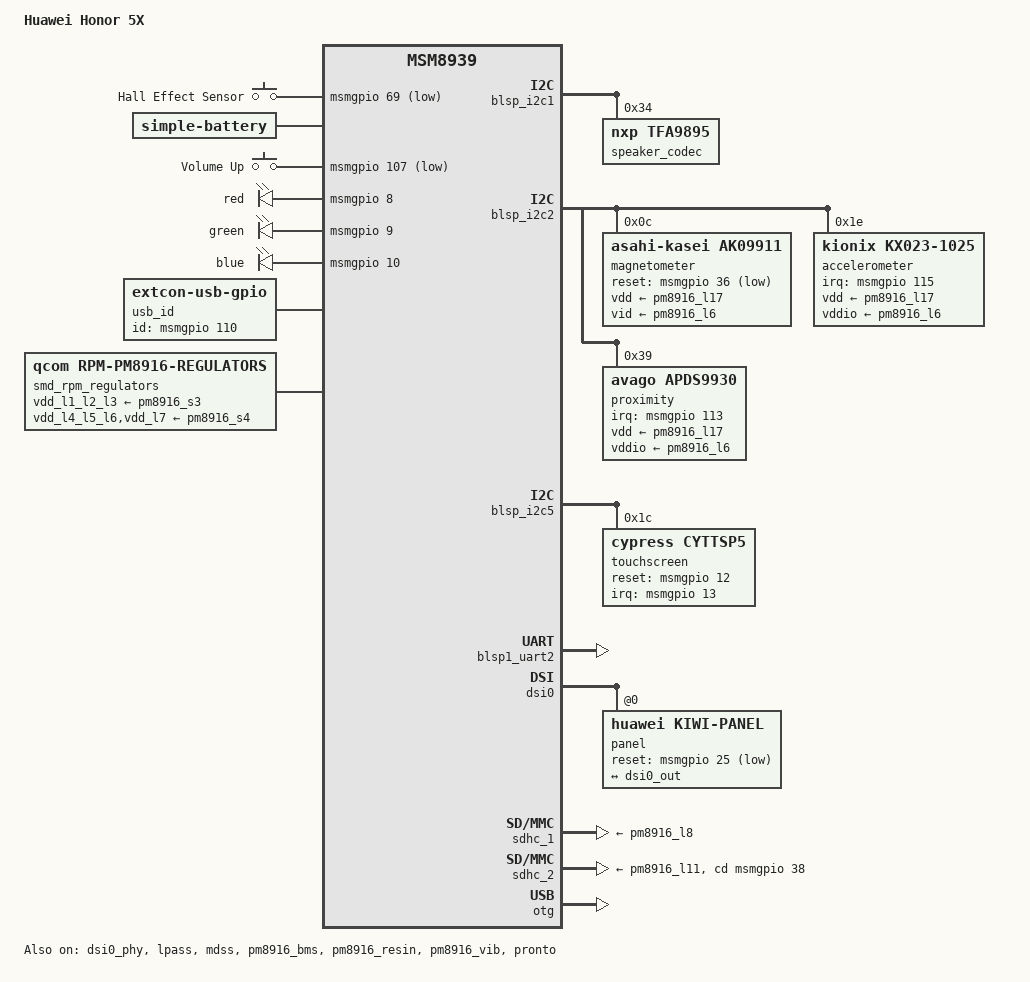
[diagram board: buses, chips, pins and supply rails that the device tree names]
// SPDX-License-Identifier: GPL-2.0-only

/dts-v1/;

#include "msm8939.dtsi"
#include "pm8916.dtsi"
#include <dt-bindings/gpio/gpio.h>
#include <dt-bindings/sound/apq8016-lpass.h>

/ {
	model = "Huawei Honor 5X";
	compatible = "huawei,kiwi", "qcom,msm8939", "qcom,msm8939-qrd-skuk", "qcom,qrd";
	chassis-type = "handset";
	qcom,msm-id = <239 0>;
	qcom,board-id =
		<8001 4>, <8007 4>, <8017 4>, <8019 4>,
		<8023 4>, <8033 4>, <8039 4>, <8049 4>,
		<8051 4>, <8054 4>, <8065 4>, <8067 4>,
		<8070 4>, <8081 4>, <8083 4>, <8086 4>,
		<8097 4>, <8099 4>, <8103 4>, <8115 4>,
		<8116 4>, <8119 4>, <8131 4>;

	aliases {
		serial0 = &blsp1_uart2;
	};

	chosen {
		stdout-path = "serial0";
	};

	reserved-memory {
		/delete-node/ venus@90000000;
		/delete-node/ rmtfs@86681000;
		/delete-node/ rfsa@867e0000;
		/delete-node/ mba@8ea00000;

		cont_splash_mem: framebuffer@83000000 {
			compatible = "removed-dma-pool";
			reg = <0x0 0x83000000 0x0 0x2000000>;
			no-map;
		};

		reserved@85000000 {
			reg = <0x0 0x85000000 0x0 0x1000000>;
			no-map;
		};

		rmtfs@86700000 {
			compatible = "qcom,rmtfs-mem";
			reg = <0x0 0x86700000 0x0 0x100000>;
			no-map;
			qcom,client-id = <1>;
		};

		gps_mem: gps@8c400000 {
			status = "disabled";
			reg = <0x0 0x8c400000 0x0 0x200000>;
			no-map;
		};

		tz-apps@8c700000 {
			reg = <0x0 0x8c700000 0x0 0x400000>;
			no-map;
		};

		ramoops: ramoops_mem_region@8cb00000 {
			compatible = "ramoops";
			reg = <0x0 0x8cb00000 0x0 0x200000>;

			record-size = <65536>;
			console-size = <1048576>;
			ftrace-size = <0>;
		};

		venus_mem: venus@8f800000 {
			reg = <0x0 0x8f800000 0x0 0x800000>;
			no-map;
		};

		reserved@f7800000 {
			reg = <0x0 0xf7800000 0x0 0x8400000>;
			no-map;
		};

		mba_mem: mba@ffc00000 {
			no-map;
			reg = <0 0xffc00000 0 0x400000>;
		};
	};

	gpio-hall-sensor {
		compatible = "gpio-keys";

		pinctrl-names = "default";
		pinctrl-0 = <&gpio_hall_sensor_default>;

		label = "GPIO Hall Effect Sensor";

		hall-sensor {
			label = "Hall Effect Sensor";
			gpios = <&msmgpio 69 GPIO_ACTIVE_LOW>;
			linux,input-type = <EV_SW>;
			linux,code = <SW_LID>;
			linux,can-disable;
		};
	};

	bat: battery {
		compatible = "simple-battery";
		voltage-min-design-microvolt = <3400000>;
		voltage-max-design-microvolt = <4350000>;
		energy-full-design-microwatt-hours = <11400000>;
		charge-full-design-microamp-hours = <3000000>;

		ocv-capacity-celsius = <25>;
		ocv-capacity-table-0 = <4314000 100>, <4252000 95>, <4197000 90>,
			<4143000 85>, <4092000 80>, <4044000 75>, <3999000 70>,
			<3953000 65>, <3905000 60>, <3868000 55>, <3841000 50>,
			<3818000 45>, <3799000 40>, <3783000 35>, <3767000 30>,
			<3748000 25>, <3724000 20>, <3699000 16>, <3678000 13>,
			<3671000 11>, <3668000 10>, <3664000 9>, <3659000 8>,
			<3649000 7>, <3627000 6>, <3588000 5>, <3535000 4>,
			<3469000 3>, <3381000 2>, <3252000 1>, <3000000 0>;
	};

	gpio-keys {
		compatible = "gpio-keys";

		pinctrl-names = "default";

		label = "GPIO Buttons";

		volume-up {
			label = "Volume Up";
			gpios = <&msmgpio 107 GPIO_ACTIVE_LOW>;
			linux,code = <KEY_VOLUMEUP>;
		};
	};

	leds {
		compatible = "gpio-leds";

		pinctrl-names = "default";
		pinctrl-0 = <&gpio_leds_default>;

		led-0 {
			gpios = <&msmgpio 8 GPIO_ACTIVE_HIGH>;
			label = "red";
			default-state = "off";
			retain-state-suspended;
		};

		led-1 {
			gpios = <&msmgpio 9 GPIO_ACTIVE_HIGH>;
			label = "green";
			default-state = "off";
			retain-state-suspended;
		};

		led-2 {
			gpios = <&msmgpio 10 GPIO_ACTIVE_HIGH>;
			label = "blue";
			default-state = "off";
			retain-state-suspended;
		};
	};

	usb_id: usb-id {
		compatible = "linux,extcon-usb-gpio";
		id-gpio = <&msmgpio 110 GPIO_ACTIVE_HIGH>;
		pinctrl-names = "default";
		pinctrl-0 = <&usb_id_default>;
	};
};

&blsp_dma {
	status = "okay";
};

&blsp_i2c1 {
	status = "okay";

	speaker_codec: audio-codec@34 {
		compatible = "nxp,tfa9895";
		reg = <0x34>;
		#sound-dai-cells = <0>;
	};
};

&blsp_i2c2 {
	status = "okay";

	magnetometer@c {
		compatible = "asahi-kasei,ak09911";
		reg = <0x0c>;

		vdd-supply = <&pm8916_l17>;
		vid-supply = <&pm8916_l6>;

		reset-gpios = <&msmgpio 36 GPIO_ACTIVE_LOW>;

		pinctrl-names = "default";
		pinctrl-0 = <&mag_reset_default>;
	};

	accelerometer@1e {
		compatible = "kionix,kx023-1025";
		reg = <0x1e>;

		interrupt-parent = <&msmgpio>;
		interrupts = <115 IRQ_TYPE_EDGE_RISING>;

		vdd-supply = <&pm8916_l17>;
		vddio-supply = <&pm8916_l6>;

		pinctrl-names = "default";
		pinctrl-0 = <&accel_irq_default>;

		mount-matrix = "-1", "0", "0",
				"0", "1", "0",
				"0", "0", "1";
	};

	proximity@39 {
		compatible = "avago,apds9930";
		reg = <0x39>;

		interrupt-parent = <&msmgpio>;
		interrupts = <113 IRQ_TYPE_EDGE_FALLING>;

		vdd-supply = <&pm8916_l17>;
		vddio-supply = <&pm8916_l6>;

		led-max-microamp = <25000>;
		amstaos,proximity-diodes = <0>;

		pinctrl-names = "default";
		pinctrl-0 = <&prox_irq_default>;
	};
};

&blsp_i2c5 {
	status = "okay";

	touchscreen@1c {
		compatible = "cypress,cyttsp5";
		reg = <0x1c>;

		interrupt-parent = <&msmgpio>;
		interrupts = <13 0x2008>;
		reset-gpios = <&msmgpio 12 0x0>;
	};
};

&blsp1_uart2 {
	status = "okay";
};

&dsi0 {
	status = "okay";
	panel@0 {
		compatible = "huawei,kiwi-panel";
		reg = <0>;

		reset-gpios = <&msmgpio 25 GPIO_ACTIVE_LOW>;

		port {
			panel_in: endpoint {
				remote-endpoint = <&dsi0_out>;
			};
		};
	};
};

&dsi0_out {
	data-lanes = <0 1 2 3>;
	remote-endpoint = <&panel_in>;
};

&dsi0_phy {
	status = "okay";
	qcom,dsi-phy-regulator-ldo-mode;
};

&lpass {
	status = "okay";
};

&mdss {
	status = "okay";
};

&pm8916_bms {
	status = "okay";

	monitored-battery = <&bat>;
};

&pm8916_resin {
	status = "okay";
	linux,code = <KEY_VOLUMEDOWN>;
};

&pm8916_vib {
	status = "okay";
};

&pronto {
	status = "okay";
	iris {
		compatible = "qcom,wcn3620";
	};
};

&sdhc_1 {
	status = "okay";

	vmmc-supply = <&pm8916_l8>;
	vqmmc-supply = <&pm8916_l5>;

	pinctrl-names = "default", "sleep";
	pinctrl-0 = <&sdc1_clk_on &sdc1_cmd_on &sdc1_data_on>;
	pinctrl-1 = <&sdc1_clk_off &sdc1_cmd_off &sdc1_data_off>;
};

&sdhc_2 {
	status = "okay";

	vmmc-supply = <&pm8916_l11>;
	vqmmc-supply = <&pm8916_l12>;

	pinctrl-names = "default", "sleep";
	pinctrl-0 = <&sdc2_clk_on &sdc2_cmd_on &sdc2_data_on &sdc2_cd_on>;
	pinctrl-1 = <&sdc2_clk_off &sdc2_cmd_off &sdc2_data_off &sdc2_cd_off>;

	cd-gpios = <&msmgpio 38 GPIO_ACTIVE_HIGH>;
};

&sound {
	status = "okay";

	pinctrl-names = "default", "sleep";
	pinctrl-0 = <&cdc_pdm_lines_act &ext_sec_tlmm_lines_act>;
	pinctrl-1 = <&cdc_pdm_lines_sus &ext_sec_tlmm_lines_sus>;

	model = "samsung-a2015";
	audio-routing =
		"AMIC1", "MIC BIAS External1",
		"AMIC2", "MIC BIAS Internal2",
		"AMIC3", "MIC BIAS External1";

	dai-link-primary {
		link-name = "Primary MI2S";
		cpu {
			sound-dai = <&lpass MI2S_PRIMARY>;
		};
		codec {
			sound-dai = <&lpass_codec 0>, <&wcd_codec 0>;
		};
	};

	dai-link-tertiary {
		link-name = "Tertiary MI2S";
		cpu {
			sound-dai = <&lpass MI2S_TERTIARY>;
		};
		codec {
			sound-dai = <&lpass_codec 1>, <&wcd_codec 1>;
		};
	};

	dai-link-quaternary {
		link-name = "Quaternary MI2S";

		cpu {
			sound-dai = <&lpass MI2S_QUATERNARY>;
		};
		codec {
			sound-dai = <&speaker_codec>;
		};
	};
};

&otg {
	status = "okay";
	extcon = <&usb_id>, <&usb_id>;
};

&usb_hs_phy {
	extcon = <&usb_id>;
	v1p8-supply = <&pm8916_l7>;
	v3p3-supply = <&pm8916_l13>;
};

&wcd_codec {
	qcom,micbias-lvl = <2800>;
	qcom,mbhc-vthreshold-low = <75 150 237 450 500>;
	qcom,mbhc-vthreshold-high = <75 150 237 450 500>;
	qcom,micbias1-ext-cap;
	qcom,hphl-jack-type-normally-open;
};

&rpm_requests {
	smd_rpm_regulators: pm8916-regulators {
		compatible = "qcom,rpm-pm8916-regulators";
		vdd_l1_l2_l3-supply = <&pm8916_s3>;
		vdd_l4_l5_l6-supply = <&pm8916_s4>;
		vdd_l7-supply = <&pm8916_s4>;

		pm8916_s3: s3 {
			regulator-min-microvolt = <1200000>;
			regulator-max-microvolt = <1300000>;
		};

		pm8916_s4: s4 {
			regulator-min-microvolt = <1800000>;
			regulator-max-microvolt = <2100000>;
		};

		pm8916_l1: l1 {
			regulator-min-microvolt = <1225000>;
			regulator-max-microvolt = <1225000>;
		};

		pm8916_l2: l2 {
			regulator-min-microvolt = <1200000>;
			regulator-max-microvolt = <1200000>;
		};

		pm8916_l4: l4 {
			regulator-min-microvolt = <2050000>;
			regulator-max-microvolt = <2050000>;
		};

		pm8916_l5: l5 {
			regulator-min-microvolt = <1800000>;
			regulator-max-microvolt = <1800000>;
			regulator-always-on; /* keep it ? */
		};

		pm8916_l6: l6 {
			regulator-min-microvolt = <1800000>;
			regulator-max-microvolt = <1800000>;
			regulator-always-on;
		};

		pm8916_l7: l7 {
			regulator-min-microvolt = <1800000>;
			regulator-max-microvolt = <1800000>;
		};

		pm8916_l8: l8 {
			regulator-min-microvolt = <2950000>;
			regulator-max-microvolt = <2950000>;
		};

		pm8916_l9: l9 {
			regulator-min-microvolt = <3300000>;
			regulator-max-microvolt = <3300000>;
		};

		pm8916_l10: l10 {
			regulator-min-microvolt = <2700000>;
			regulator-max-microvolt = <2800000>;
		};

		pm8916_l11: l11 {
			regulator-min-microvolt = <1800000>;
			regulator-max-microvolt = <2950000>;
			regulator-allow-set-load;
			regulator-system-load = <200000>;
		};

		pm8916_l12: l12 {
			regulator-min-microvolt = <1800000>;
			regulator-max-microvolt = <2950000>;
		};

		pm8916_l13: l13 {
			regulator-min-microvolt = <3075000>;
			regulator-max-microvolt = <3075000>;
		};

		pm8916_l14: l14 {
			regulator-min-microvolt = <1800000>;
			regulator-max-microvolt = <3300000>;
		};

		pm8916_l15: l15 {
			regulator-min-microvolt = <1800000>;
			regulator-max-microvolt = <3300000>;
		};

		pm8916_l16: l16 {
			regulator-min-microvolt = <1800000>;
			regulator-max-microvolt = <3300000>;
		};

		pm8916_l17: l17 {
			regulator-min-microvolt = <2850000>;
			regulator-max-microvolt = <2850000>;
		};

		pm8916_l18: l18 {
			regulator-min-microvolt = <2700000>;
			regulator-max-microvolt = <2700000>;
		};
	};
};

&msmgpio {
	accel_irq_default: accel-irq-default {
		pins = "gpio115";
		function = "gpio";

		drive-strength = <2>;
		bias-disable;
	};

	gpio_hall_sensor_default: gpio-hall-sensor-default {
		pins = "gpio69";
		function = "gpio";

		drive-strength = <2>;
		bias-disable;
	};

	gpio_leds_default: gpio-leds-default {
		pins = "gpio8", "gpio9", "gpio10";
		function = "gpio";

		drive-strength = <2>;
		bias-disable;
	};

	mag_reset_default: mag-reset-default {
		pins = "gpio36";
		function = "gpio";

		drive-strength = <2>;
		bias-disable;
	};

	prox_irq_default: prox-irq-default {
		pins = "gpio113";
		function = "gpio";

		drive-strength = <2>;
		bias-disable;
	};

	usb_id_default: usb-id-default {
		pins = "gpio110";
		function = "gpio";

		drive-strength = <8>;
		bias-pull-up;
	};
};
